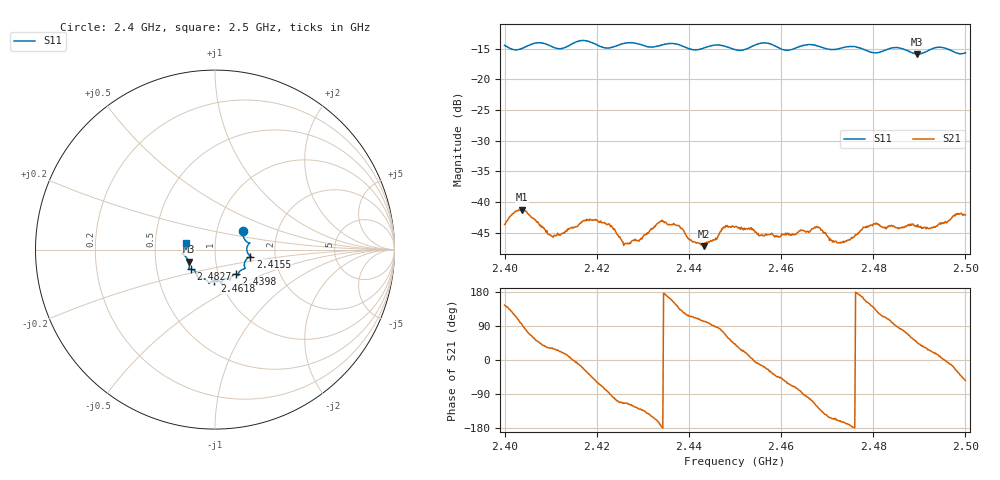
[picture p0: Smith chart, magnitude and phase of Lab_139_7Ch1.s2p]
# Hz S RI R 50
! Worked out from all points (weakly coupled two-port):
!   601 points, 2.4 GHz to 2.5 GHz, reference 50 ohm
!   highest |S21| = -41.20 dB at 2.4038 GHz (marker M1); lowest = -47.2 dB at 2.4432 GHz (marker M2)
!   lowest |S11| = -15.9 dB at 2.4895 GHz (marker M3), VSWR 1.38, Z = 37 - j5.04 ohm
!   |S11| at or under -10 dB: start of sweep to end of sweep
!   S12 and S22 are empty: the file has one direction only
!   S11 on the Smith chart (normalised r, x): 2.4 GHz: 1.33, +0.29; 2.4155 GHz: 1.49, -0.12; 2.4398 GHz: 1.21, -0.34; 2.4618 GHz: 0.94, -0.33; 2.4827 GHz: 0.75, -0.17; 2.5 GHz: 0.72, +0.06
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2.4e9  0.1561 0.1058  -0.00539 0.0038  0 0  0 0
2.403833e9  0.1723 0.0475  -0.000362 0.00871  0 0  0 0
2.41e9  0.1843 0.027  0.00462 0.00278  0 0  0 0
2.4155e9  0.1975 -0.0389  0.00627 -0.000782  0 0  0 0
2.416667e9  0.2023 -0.0423  0.0066 -0.00203  0 0  0 0
2.422833e9  0.1644 -0.0742  -2.85e-05 -0.00652  0 0  0 0
2.426333e9  0.1683 -0.1027  -0.00187 -0.00421  0 0  0 0
2.433333e9  0.1296 -0.1344  -0.0065 -0.00197  0 0  0 0
2.4375e9  0.1304 -0.142  -0.00513 0.00389  0 0  0 0
2.439833e9  0.1151 -0.136  -0.00238 0.00445  0 0  0 0
2.443167e9  0.0876 -0.1563  -0.000905 0.00429  0 0  0 0
2.45e9  0.065 -0.1618  0.00465 0.00425  0 0  0 0
2.456333e9  0.0392 -0.194  0.00506 -0.00163  0 0  0 0
2.461833e9  -0.00329 -0.1729  0.00244 -0.00495  0 0  0 0
2.466667e9  -0.0349 -0.188  -0.00175 -0.00582  0 0  0 0
2.472667e9  -0.0775 -0.1599  -0.00441 -0.0015  0 0  0 0
2.479833e9  -0.1083 -0.1244  -0.00497 0.00408  0 0  0 0
2.482667e9  -0.1344 -0.1087  -0.00238 0.00579  0 0  0 0
2.483333e9  -0.1395 -0.1084  -0.00188 0.00603  0 0  0 0
2.4895e9  -0.1462 -0.0664  0.00432 0.00459  0 0  0 0
2.494167e9  -0.181 -0.022  0.00647 0.00139  0 0  0 0
2.5e9  -0.1595 0.0389  0.0046 -0.00636  0 0  0 0
